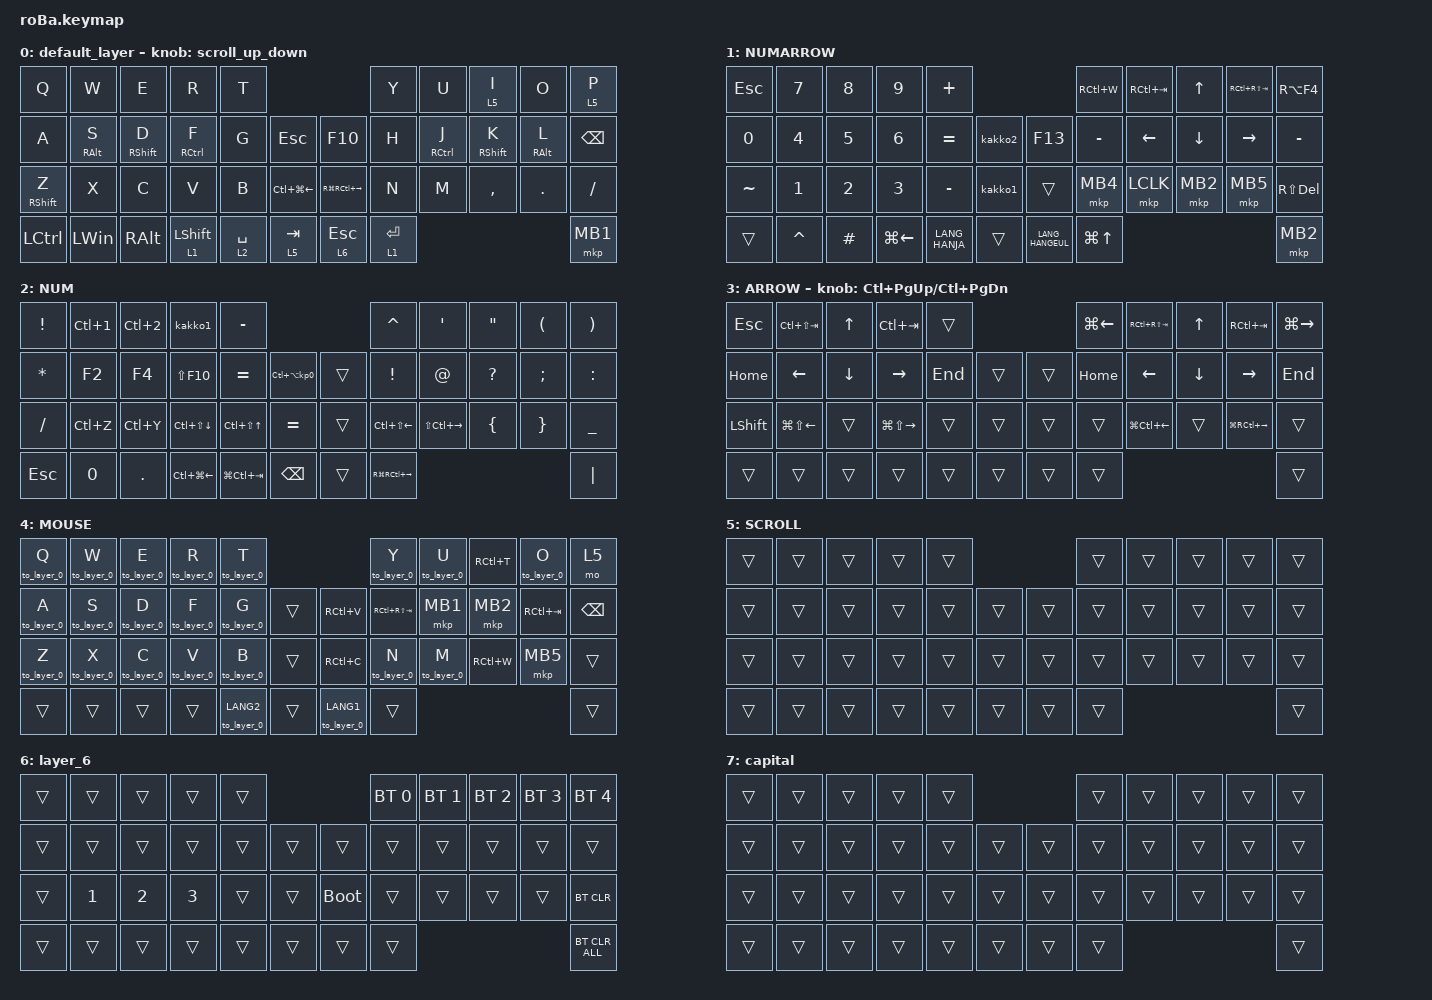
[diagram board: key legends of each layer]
#include <behaviors.dtsi>
#include <dt-bindings/zmk/bt.h>
#include <dt-bindings/zmk/keys.h>
#include <dt-bindings/zmk/pointing.h>

#define ZMK_POINTING_DEFAULT_SCRL_VAL 100
#define MOUSE 4
#define SCROLL 5
#define NUM 6

&mt {
    flavor = "tap-preferred";
    tapping-term-ms = <200>;
    require-prior-idle-ms = <175>;
    quick-tap-ms = <200>;
};

/ {
    combos {
        compatible = "zmk,combos";

        tab {
            bindings = <&kp TAB>;
            key-positions = <11 12>;
        };

        shift_tab {
            bindings = <&kp LS(TAB)>;
            key-positions = <12 13>;
        };

        muhennkann {
            bindings = <&to_layer_0 INT_MUHENKAN>;
            key-positions = <11 10>;
        };

        double_quotation {
            bindings = <&kp DOUBLE_QUOTES>;
            key-positions = <20 21>;
        };

        eq {
            bindings = <&kp EQUAL>;
            key-positions = <24 25>;
        };

        BT0 {
            bindings = <&bt BT_SEL 0>;
            key-positions = <22 28>;
        };

        BT1 {
            bindings = <&bt BT_SEL 1>;
            key-positions = <23 28>;
        };

        BT2 {
            bindings = <&bt BT_SEL 2>;
            key-positions = <24 28>;
        };

        BT3 {
            bindings = <&bt BT_SEL 3>;
            key-positions = <25 28>;
        };
    };

    macros {
        to_layer_0: to_layer_0 {
            compatible = "zmk,behavior-macro-one-param";
            #binding-cells = <1>;
            bindings = <&to 0 &macro_param_1to1 &kp MACRO_PLACEHOLDER>;
            label = "TO_LAYER_0";
        };

        kakko1: kakko1 {
            compatible = "zmk,behavior-macro";
            #binding-cells = <0>;
            bindings = <&kp LEFT_BRACKET &kp RIGHT_BRACKET &kp ENTER &kp LEFT_ARROW>;
            label = "KAKKO1";
        };

        kakko2: kakko2 {
            compatible = "zmk,behavior-macro";
            #binding-cells = <0>;
            bindings = <&kp LEFT_PARENTHESIS &kp RIGHT_PARENTHESIS &kp ENTER &kp LEFT_ARROW>;
            label = "KAKKO2";
        };
    };

    behaviors {
        scroll_up_down: behavior_sensor_rotate_mouse_wheel_up_down {
            compatible = "zmk,behavior-sensor-rotate";
            #sensor-binding-cells = <0>;
            bindings = <&msc SCRL_DOWN>, <&msc SCRL_UP>;

            // 追加: スクロールのタップ時間を設定 (20ms)

            tap-ms = <20>;
        };

        lt_to_layer_0: lt_to_layer_0 {
            compatible = "zmk,behavior-hold-tap";
            label = "LAYER_TAP_TO_0";
            bindings = <&mo>, <&to_layer_0>;

            #binding-cells = <2>;
            tapping-term-ms = <200>;
        };

        home_row_mod_left: home_row_mod_left {
            compatible = "zmk,behavior-hold-tap";
            label = "HOME_ROW_MOD_LEFT";
            bindings = <&kp>, <&kp>;

            #binding-cells = <2>;
            tapping-term-ms = <270>;
            quick-tap-ms = <175>;
            require-prior-idle-ms = <150>;
            flavor = "balanced";
            hold-trigger-on-release;
            hold-trigger-key-positions = <11 13 12>;
        };

        home_row_mod_right: home_row_mod_right {
            compatible = "zmk,behavior-hold-tap";
            label = "HOME_ROW_MOD_RIGHT";
            bindings = <&kp>, <&kp>;

            #binding-cells = <2>;
            tapping-term-ms = <270>;
            quick-tap-ms = <175>;
            require-prior-idle-ms = <150>;
            flavor = "balanced";
            hold-trigger-on-release;
            hold-trigger-key-positions = <18 19 20>;
        };
    };

    keymap {
        compatible = "zmk,keymap";

        default_layer {
            bindings = <
&kp Q              &kp W                           &kp E                             &kp R                       &kp T                                                             &kp Y        &kp U                        &lt 5 I                            &kp O                            &lt 5 P
&kp A              &home_row_mod_left RIGHT_ALT S  &home_row_mod_left RIGHT_SHIFT D  &home_row_mod_left RCTRL F  &kp G        &kp ESCAPE                  &kp F10                  &kp H        &home_row_mod_right RCTRL J  &home_row_mod_right RIGHT_SHIFT K  &home_row_mod_right RIGHT_ALT L  &kp BACKSPACE
&mt RIGHT_SHIFT Z  &kp X                           &kp C                             &kp V                       &kp B        &kp LC(LG(LEFT_ARROW))      &kp RG(RC(RIGHT_ARROW))  &kp N        &kp M                        &kp COMMA                          &kp DOT                          &kp SLASH
&kp LCTRL          &kp LEFT_WIN                    &kp RIGHT_ALT                     &lt 1 LEFT_SHIFT            &lt 2 SPACE  &lt 5 TAB                   &lt 6 ESC                &lt 1 ENTER                                                                                                   &mkp MB1
            >;

            sensor-bindings = <&scroll_up_down>;
        };

        NUMARROW {
            bindings = <
&kp ESCAPE  &kp N7        &kp N8        &kp N9              &kp PLUS                                       &kp RC(W)         &kp RC(TAB)     &kp UP_ARROW    &kp RC(RS(TAB))  &kp RA(F4)
&kp N0      &kp NUMBER_4  &kp N5        &kp NUMBER_6        &kp EQUAL       &kakko2      &kp F13           &kp MINUS         &kp LEFT_ARROW  &kp DOWN_ARROW  &kp RIGHT_ARROW  &kp MINUS
&kp TILDE   &kp NUMBER_1  &kp NUMBER_2  &kp NUMBER_3        &kp MINUS       &kakko1      &trans            &mkp MB4          &mkp LCLK       &mkp MB2        &mkp MB5         &kp RS(DEL)
&trans      &kp CARET     &kp HASH      &kp LG(LEFT_ARROW)  &kp LANG_HANJA  &trans       &kp LANG_HANGEUL  &kp LG(UP_ARROW)                                                   &mkp MB2
            >;
        };

        NUM {
            bindings = <
&kp EXCLAMATION  &kp LC(NUMBER_1)  &kp LC(NUMBER_2)  &kakko1                 &kp MINUS                                                  &kp CARET                &kp SINGLE_QUOTE         &kp DOUBLE_QUOTES  &kp LEFT_PARENTHESIS  &kp RIGHT_PARENTHESIS
&kp ASTERISK     &kp F2            &kp F4            &kp LS(F10)             &kp EQUAL             &kp LC(LA(KP_NUMBER_0))      &trans  &kp EXCLAMATION          &kp AT_SIGN              &kp QUESTION       &kp SEMICOLON         &kp COLON
&kp SLASH        &kp LC(Z)         &kp LC(Y)         &kp LC(LS(DOWN_ARROW))  &kp LC(LS(UP_ARROW))  &kp EQUAL                    &trans  &kp LC(LS(LEFT_ARROW))   &kp LS(LC(RIGHT_ARROW))  &kp LEFT_BRACE     &kp RIGHT_BRACE       &kp UNDER
&kp ESCAPE       &kp N0            &kp PERIOD        &kp LC(LG(LEFT_ARROW))  &kp LG(LC(TAB))       &kp BSPC                     &trans  &kp RG(RC(RIGHT_ARROW))                                                                    &kp PIPE
            >;
        };

        ARROW {
            bindings = <
&kp ESCAPE      &kp LC(LS(TAB))         &kp UP_ARROW    &kp LC(TAB)              &trans                       &kp LG(LEFT_ARROW)  &kp RC(RS(TAB))         &kp UP_ARROW    &kp RC(TAB)              &kp LG(RIGHT_ARROW)
&kp HOME        &kp LEFT_ARROW          &kp DOWN_ARROW  &kp RIGHT_ARROW          &kp END  &trans      &trans  &kp HOME            &kp LEFT_ARROW          &kp DOWN_ARROW  &kp RIGHT_ARROW          &kp END
&kp LEFT_SHIFT  &kp LG(LS(LEFT_ARROW))  &trans          &kp LG(LS(RIGHT_ARROW))  &trans   &trans      &trans  &trans              &kp LG(LC(LEFT_ARROW))  &trans          &kp LG(RC(RIGHT_ARROW))  &trans
&trans          &trans                  &trans          &trans                   &trans   &trans      &trans  &trans                                                                               &trans
            >;

            sensor-bindings = <&inc_dec_kp LC(PAGE_UP) LC(PAGE_DOWN)>;
        };

        MOUSE {
            bindings = <
&to_layer_0 Q  &to_layer_0 W  &to_layer_0 E  &to_layer_0 R  &to_layer_0 T                                     &to_layer_0 Y    &to_layer_0 U  &kp RC(T)  &to_layer_0 O  &mo 5
&to_layer_0 A  &to_layer_0 S  &to_layer_0 D  &to_layer_0 F  &to_layer_0 G      &trans      &kp RC(V)          &kp RC(RS(TAB))  &mkp MB1       &mkp MB2   &kp RC(TAB)    &kp BACKSPACE
&to_layer_0 Z  &to_layer_0 X  &to_layer_0 C  &to_layer_0 V  &to_layer_0 B      &trans      &kp RC(C)          &to_layer_0 N    &to_layer_0 M  &kp RC(W)  &mkp MB5       &trans
&trans         &trans         &trans         &trans         &to_layer_0 LANG2  &trans      &to_layer_0 LANG1  &trans                                                    &trans
            >;
        };

        SCROLL {
            bindings = <
&trans  &trans  &trans  &trans  &trans                      &trans  &trans  &trans  &trans  &trans
&trans  &trans  &trans  &trans  &trans  &trans      &trans  &trans  &trans  &trans  &trans  &trans
&trans  &trans  &trans  &trans  &trans  &trans      &trans  &trans  &trans  &trans  &trans  &trans
&trans  &trans  &trans  &trans  &trans  &trans      &trans  &trans                          &trans
            >;
        };

        layer_6 {
            bindings = <
&trans  &trans        &trans        &trans        &trans                           &bt BT_SEL 0  &bt BT_SEL 1  &bt BT_SEL 2  &bt BT_SEL 3  &bt BT_SEL 4
&trans  &trans        &trans        &trans        &trans  &trans      &trans       &trans        &trans        &trans        &trans        &trans
&trans  &kp NUMBER_1  &kp NUMBER_2  &kp NUMBER_3  &trans  &trans      &bootloader  &trans        &trans        &trans        &trans        &bt BT_CLR
&trans  &trans        &trans        &trans        &trans  &trans      &trans       &trans                                                  &bt BT_CLR_ALL
            >;
        };

        capital {
            bindings = <
&trans  &trans  &trans  &trans  &trans                      &trans  &trans  &trans  &trans  &trans
&trans  &trans  &trans  &trans  &trans  &trans      &trans  &trans  &trans  &trans  &trans  &trans
&trans  &trans  &trans  &trans  &trans  &trans      &trans  &trans  &trans  &trans  &trans  &trans
&trans  &trans  &trans  &trans  &trans  &trans      &trans  &trans                          &trans
            >;
        };
    };
};
